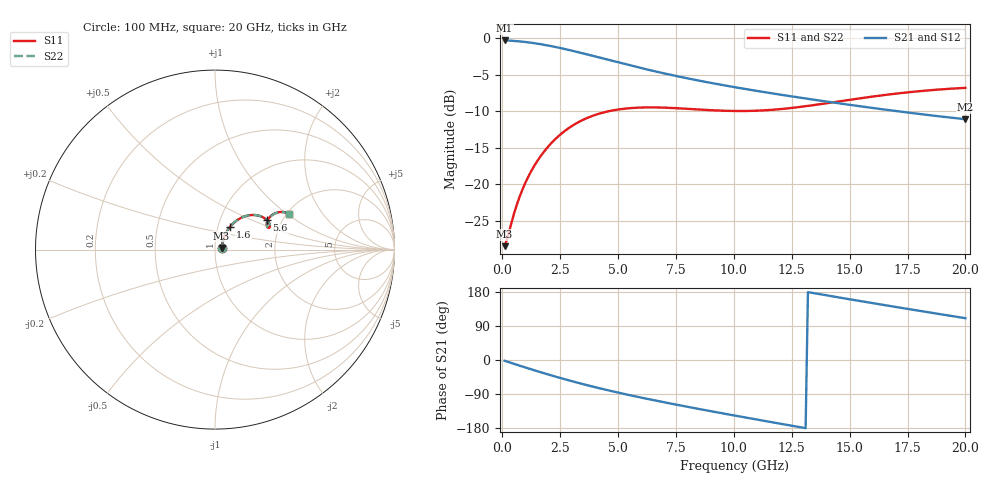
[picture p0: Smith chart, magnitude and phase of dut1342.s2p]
! Touchstone file exported from HFSS 2024.1.0
!  File:  C:/UserFiles/LocalFiles/RDL_TSV_Batchsim/temp_RDL_TSV_1342_1780391948.aedt
!  Generated:  05:36:13 PM Jun  2, 2026
!  Design:  RDL_TSV
!  Project:  temp_RDL_TSV_1342_1780391948
!  Setup:  Setup1
!  Solution:  Sweep
! Variables:
!  dtsv = 6.4um
!  hbump = 3um
!  htsv = 93.13um
!  ldown = 286.54um
!  lrdl = 650.11um
!  p = 40
!  p1 = 44.35um
!  rhole = 10um
!  subl = 3460.06um
!  t = 450um
!  tdown = 2.98um
!  trdl = 2.6um
!  viad = 10um
!  wdown = 19.97um
!  wrdl = 11.31um
!  xbump = 18um
# GHz S MA R 50.000000
! Terminal data exported
! Port[1] = TM1_1_T1
! Port[2] = TM1_4_T1
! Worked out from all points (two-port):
!   200 points, 100 MHz to 20 GHz, reference 50 ohm
!   highest |S21| = -0.32 dB at 100 MHz (marker M1); lowest = -11.1 dB at 20 GHz (marker M2)
!   |S21| within 3 dB of the highest: start of sweep to 5.008 GHz
!   lowest |S11| = -28.4 dB at 100 MHz (marker M3), VSWR 1.08, Z = 53.8 + j1.03 ohm
!   |S11| at or under -10 dB: start of sweep to 4.593 GHz
!   |S22| runs from -28.4 to -6.8 dB; largest |S21 - S12| = 1.7e-14
!   S11 on the Smith chart (normalised r, x): 100 MHz: 1.08, +0.02; 1.6 GHz: 1.14, +0.30; 5.6 GHz: 1.67, +0.62; 20 GHz: 2.04, +1.03
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0.1  0.03782 14.6  0.9634 -2.0  0.9634 -2.0  0.03782 14.6
! Gamma 0 0 0 0
! Port Impedance 50 0 50 0
0.2  0.04205 26.7  0.9624 -4.1  0.9624 -4.1  0.04205 26.7
0.5  0.0626 46.4  0.9565 -10.1  0.9565 -10.1  0.06259 46.4
0.8  0.08646 53.6  0.9475 -16.0  0.9475 -16.0  0.08645 53.6
1.2  0.1191 56.7  0.9316 -23.7  0.9316 -23.7  0.1191 56.7
1.6  0.1515 56.6  0.9117 -31.2  0.9117 -31.2  0.1515 56.6
2  0.1827 54.9  0.8884 -38.5  0.8884 -38.5  0.1827 54.9
2.5  0.2187 51.7  0.8557 -47.4  0.8557 -47.4  0.2188 51.7
3  0.2504 47.9  0.8207 -55.8  0.8207 -55.8  0.2505 48.0
3.5  0.2769 44.0  0.7849 -63.9  0.7849 -63.9  0.277 44.0
4.4  0.3111 37.1  0.7219 -77.5  0.7219 -77.5  0.3113 37.1
5.6  0.3327 29.6  0.6461 -94.1  0.6461 -94.1  0.3331 29.6
6.8  0.3353 24.6  0.5826 -109.3  0.5826 -109.3  0.3358 24.6
7.6  0.3313 22.7  0.5468 -118.9  0.5468 -118.9  0.3318 22.7
8.4  0.3255 21.9  0.5153 -128.2  0.5153 -128.2  0.3261 21.9
10.1  0.3174 23.5  0.4599 -147.3  0.4599 -147.3  0.3179 23.5
11.7  0.3238 27.1  0.4178 -164.8  0.4178 -164.8  0.3243 27.0
13.4  0.3474 30.2  0.3803 177.0  0.3803 177.0  0.3477 30.1
15.1  0.3805 31.3  0.348 159.2  0.348 159.2  0.3806 31.2
16.7  0.4118 30.4  0.3218 142.9  0.3218 142.9  0.4117 30.3
18.3  0.4378 28.5  0.2991 126.9  0.2991 126.9  0.4375 28.4
20  0.4567 26.0  0.2788 110.3  0.2788 110.3  0.4563 25.9
